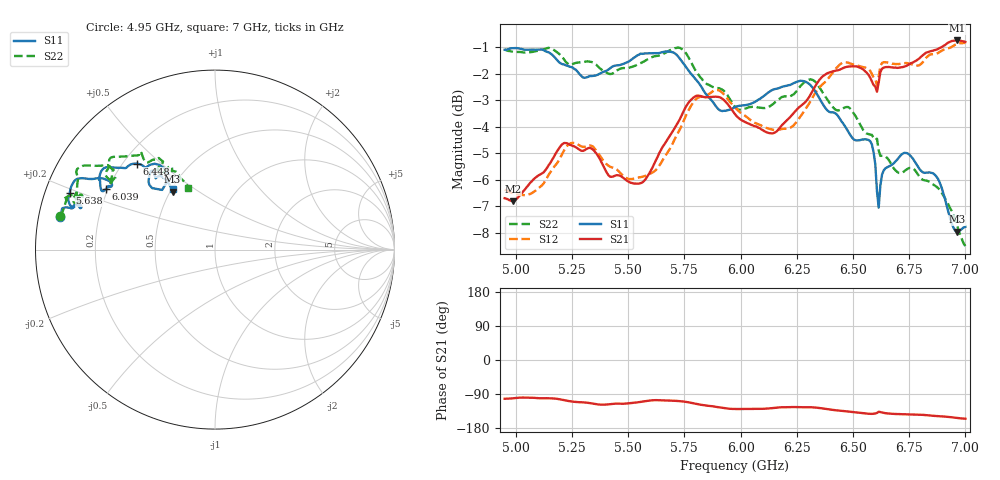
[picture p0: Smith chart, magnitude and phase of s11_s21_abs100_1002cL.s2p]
! MS46122B
! 1919307/90821646
! 5/18/2022 2:50:49 PM
! C:\USERS\PC_\DESKTOP\CARACTERIZACION\MEDICIONES\S11_S21_ABS10_1002C.S2P
! CHANNEL.1
! TR.MEASUREMENT
! CORRECTED.DATA
# GHZ S RI R 50.0
! FREQ.GHZ  S11RE  S11IM  S21RE  S21IM  S12RE  S12IM  S22RE  S22IM
!; PortSelection: Port_12
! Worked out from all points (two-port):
!   272 points, 4.95 GHz to 7 GHz, reference 50 ohm
!   highest |S21| = -0.75 dB at 6.962 GHz (marker M1); lowest = -6.8 dB at 4.988 GHz (marker M2)
!   |S21| within 3 dB of the highest: 5.727 GHz to 6.003 GHz (276 MHz wide, 4.71 % of centre); 6.207 GHz to end of sweep
!   lowest |S11| = -8.0 dB at 6.962 GHz (marker M3), VSWR 2.33, Z = 25.7 + j19.8 ohm
!   |S11| at or under -10 dB: nowhere
!   |S22| runs from -8.5 to -1.0 dB; largest |S21 - S12| = 0.047
!   S11 on the Smith chart (normalised r, x): 4.95 GHz: 0.06, +0.10; 5.638 GHz: 0.07, +0.19; 6.039 GHz: 0.19, +0.25; 6.448 GHz: 0.25, +0.42; 7 GHz: 0.51, +0.41
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4.95  -0.8625 0.1788  -0.0977 -0.4523  -0.1073 -0.468  -0.8625 0.1868
4.987823  -0.8673 0.1878  -0.0868 -0.4483  -0.0988 -0.4618  -0.8427 0.2285
5.207196  -0.7951 0.2296  -0.1525 -0.5651  -0.1308 -0.5462  -0.7972 0.3043
5.29797  -0.7438 0.2399  -0.2103 -0.5279  -0.1916 -0.5456  -0.7761 0.3088
5.373616  -0.7575 0.2397  -0.2547 -0.4861  -0.2387 -0.5026  -0.7709 0.2587
5.517343  -0.8083 0.2494  -0.1964 -0.4534  -0.2124 -0.4558  -0.7713 0.2729
5.638376  -0.8088 0.3168  -0.156 -0.5411  -0.1536 -0.5103  -0.7629 0.3963
5.729151  -0.7492 0.3973  -0.2069 -0.6176  -0.197 -0.5914  -0.7654 0.451
5.804797  -0.6618 0.3967  -0.3192 -0.6475  -0.2956 -0.6489  -0.6489 0.4674
5.895572  -0.5766 0.3696  -0.4032 -0.5948  -0.3824 -0.6336  -0.601 0.4423
5.978782  -0.5903 0.3536  -0.4201 -0.5132  -0.4259 -0.5344  -0.5652 0.3863
6.039299  -0.6087 0.3361  -0.4027 -0.4956  -0.4282 -0.4914  -0.5595 0.3987
6.114945  -0.638 0.3496  -0.3827 -0.4829  -0.4024 -0.4816  -0.584 0.3582
6.319188  -0.5912 0.4592  -0.4205 -0.6035  -0.4098 -0.5863  -0.5787 0.5131
6.447786  -0.4352 0.4783  -0.5626 -0.5839  -0.5492 -0.6223  -0.4211 0.5323
6.561255  -0.3756 0.4641  -0.6237 -0.4967  -0.6254 -0.5203  -0.3733 0.4854
6.606642  -0.2496 0.4067  -0.5587 -0.4766  -0.5816 -0.4835  -0.3134 0.5105
6.614207  -0.2946 0.3325  -0.5546 -0.5254  -0.5767 -0.5312  -0.2895 0.4901
6.659594  -0.3705 0.3807  -0.6393 -0.5099  -0.6592 -0.5082  -0.3201 0.4423
6.750369  -0.3466 0.4389  -0.6632 -0.4941  -0.6741 -0.4844  -0.2582 0.4601
6.962177  -0.2363 0.3231  -0.816 -0.4193  -0.7942 -0.4311  -0.1693 0.3762
7  -0.2315 0.3368  -0.8263 -0.3854  -0.811 -0.4083  -0.1523 0.3436
